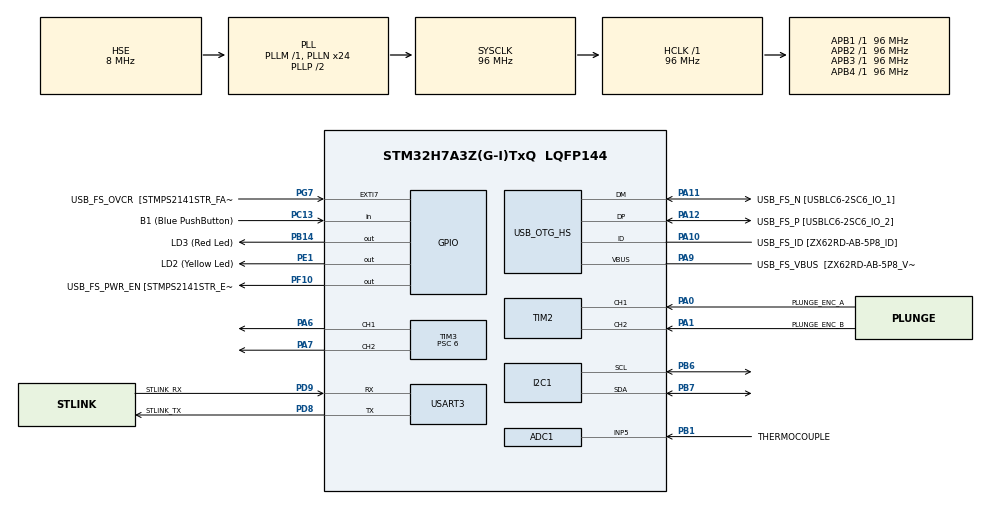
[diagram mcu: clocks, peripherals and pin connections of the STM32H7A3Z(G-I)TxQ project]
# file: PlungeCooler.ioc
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ADC1.Channel-2\#ChannelRegularConversion=ADC_CHANNEL_5
ADC1.ClockPrescaler=ADC_CLOCK_ASYNC_DIV1
ADC1.NbrOfConversionFlag=1
ADC1.OffsetNumber-2\#ChannelRegularConversion=ADC_OFFSET_NONE
ADC1.OffsetSignedSaturation-2\#ChannelRegularConversion=DISABLE
ADC1.Rank-2\#ChannelRegularConversion=1
ADC1.Resolution=ADC_RESOLUTION_16B
ADC1.SamplingTime-2\#ChannelRegularConversion=ADC_SAMPLETIME_1CYCLE_5
ADC1.master=1
I2C1.Timing=0x10B0DCFB
Mcu.Family=STM32H7
Mcu.Name=STM32H7A3Z(G-I)TxQ
Mcu.Package=LQFP144
NVIC.PriorityGroup=NVIC_PRIORITYGROUP_4
NVIC.TIM2_IRQn=true\:0\:0\:false\:false\:true\:true\:true\:true
NVIC.TIM5_IRQn=true\:0\:0\:false\:false\:true\:true\:true\:true
NVIC.USART3_IRQn=true\:0\:0\:false\:false\:true\:true\:true\:true
PA0.GPIO_Label=PLUNGE_ENC_A
PA0.Signal=S_TIM2_CH1_ETR
PA1.GPIO_Label=PLUNGE_ENC_B
PA1.Signal=S_TIM2_CH2
PA10.GPIO_Label=USB_FS_ID [ZX62RD-AB-5P8_ID]
PA10.Mode=OTG/Dual-Role-Device-FS
PA10.Signal=USB_OTG_HS_ID
PA11.GPIO_Label=USB_FS_N [USBLC6-2SC6_IO_1]
PA11.Mode=OTG/Dual-Role-Device-FS
PA11.Signal=USB_OTG_HS_DM
PA12.GPIO_Label=USB_FS_P [USBLC6-2SC6_IO_2]
PA12.Mode=OTG/Dual-Role-Device-FS
PA12.Signal=USB_OTG_HS_DP
PA6.Signal=S_TIM3_CH1
PA7.Signal=S_TIM3_CH2
PA9.GPIO_Label=USB_FS_VBUS  [ZX62RD-AB-5P8_VBUS]
PA9.Mode=Activate_VBUS_FS
PA9.Signal=USB_OTG_HS_VBUS
PB1.GPIO_Label=THERMOCOUPLE
PB1.Signal=ADCx_INP5
PB14.GPIO_Label=LD3 (Red Led)
PB14.Signal=GPIO_Output
PB6.Mode=I2C
PB6.Signal=I2C1_SCL
PB7.Mode=I2C
PB7.Signal=I2C1_SDA
PC13.GPIO_Label=B1 (Blue PushButton)
PC13.Signal=GPIO_Input
PC14-OSC32_IN.GPIO_Label=OSC32_IN
PC14-OSC32_IN.Mode=LSE-External-Oscillator
PC14-OSC32_IN.Signal=RCC_OSC32_IN
PC15-OSC32_OUT.GPIO_Label=OSC32_OUT
PC15-OSC32_OUT.Mode=LSE-External-Oscillator
PC15-OSC32_OUT.Signal=RCC_OSC32_OUT
PD8.GPIO_Label=STLINK_TX
PD8.Mode=Asynchronous
PD8.Signal=USART3_TX
PD9.GPIO_Label=STLINK_RX
PD9.Mode=Asynchronous
PD9.Signal=USART3_RX
PE1.GPIO_Label=LD2 (Yellow Led)
PE1.Signal=GPIO_Output
PF10.GPIO_Label=USB_FS_PWR_EN [STMPS2141STR_EN]
PF10.Signal=GPIO_Output
PG7.GPIO_Label=USB_FS_OVCR  [STMPS2141STR_FAULT]
PG7.Signal=GPXTI7
PH0-OSC_IN.GPIO_Label=PH0-MCU
PH0-OSC_IN.Mode=HSE-External-Clock-Source
PH0-OSC_IN.Signal=RCC_OSC_IN
PH1-OSC_OUT.GPIO_Label=PH1-MCU
PH1-OSC_OUT.Signal=RCC_OSC_OUT
ProjectManager.HeapSize=0x200
ProjectManager.StackSize=0x400
ProjectManager.TargetToolchain=STM32CubeIDE
RCC.ADCFreq_Value=42666666.666666664
RCC.APB1Freq_Value=96000000
RCC.APB2Freq_Value=96000000
RCC.APB3Freq_Value=96000000
RCC.APB4Freq_Value=96000000
RCC.CortexFreq_Value=96000000
RCC.DIVM1=1
RCC.DIVM2=1
RCC.DIVM3=1
RCC.DIVN1=24
RCC.DIVN2=16
RCC.DIVN3=24
RCC.DIVP2=3
RCC.DIVQ1=4
RCC.HCLKFreq_Value=96000000
RCC.HSE_VALUE=8000000
RCC.PLL2FRACN=0
RCC.PLLFRACN=0
RCC.PLLSourceVirtual=RCC_PLLSOURCE_HSE
RCC.PWR_Regulator_Voltage_Scale=PWR_REGULATOR_VOLTAGE_SCALE0
RCC.SYSCLKFreq_VALUE=96000000
RCC.SYSCLKSource=RCC_SYSCLKSOURCE_PLLCLK
RCC.SupplySource=PWR_DIRECT_SMPS_SUPPLY
RCC.USBCLockSelection=RCC_USBCLKSOURCE_HSI48
RCC.USBFreq_Value=48000000
SH.ADCx_INP5.0=ADC1_INP5,IN5-Single-Ended
SH.S_TIM2_CH1_ETR.0=TIM2_CH1,Encoder_Interface
SH.S_TIM2_CH2.0=TIM2_CH2,Encoder_Interface
SH.S_TIM3_CH1.0=TIM3_CH1,PWM Generation1 CH1
SH.S_TIM3_CH2.0=TIM3_CH2,PWM Generation2 CH2
TIM3.Channel-PWM\ Generation1\ CH1=TIM_CHANNEL_1
TIM3.Channel-PWM\ Generation2\ CH2=TIM_CHANNEL_2
TIM3.OCFastMode_PWM-PWM\ Generation1\ CH1=TIM_OCFAST_DISABLE
TIM3.OCFastMode_PWM-PWM\ Generation2\ CH2=TIM_OCFAST_DISABLE
TIM3.Period=255
TIM3.Prescaler=6
TIM5.AutoReloadPreload=TIM_AUTORELOAD_PRELOAD_DISABLE
USART3.VirtualMode-Asynchronous=VM_ASYNC
VP_TIM3_VS_ClockSourceINT.Mode=Internal
VP_TIM5_VS_ClockSourceINT.Mode=Internal
board=NUCLEO-H7A3ZI-Q

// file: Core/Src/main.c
/* USER CODE BEGIN Header */
/**
  ******************************************************************************
  * @file           : main.c
  * @brief          : Main program body
  ******************************************************************************
  * @attention
  *
  * Copyright (c) 2023 STMicroelectronics.
  * All rights reserved.
  *
  * This software is licensed under terms that can be found in the LICENSE file
  * in the root directory of this software component.
  * If no LICENSE file comes with this software, it is provided AS-IS.
  *
  ******************************************************************************
  */
/* USER CODE END Header */
#include "main.h"

/* USER CODE BEGIN Includes */
#include <string.h>
#include <stdio.h>
#include "stm32h7xx_it.h"
#include "environment_control.h"
#include "globals.h"
#include "math.h"
#include "pid.h"
/* USER CODE END Includes */

ADC_HandleTypeDef hadc1;

I2C_HandleTypeDef hi2c1;

TIM_HandleTypeDef htim2;
TIM_HandleTypeDef htim3;
TIM_HandleTypeDef htim5;

UART_HandleTypeDef huart3;

void SystemClock_Config(void);
static void MX_GPIO_Init(void);
static void MX_TIM2_Init(void);
static void MX_USB_OTG_HS_USB_Init(void);
static void MX_USART3_UART_Init(void);
static void MX_TIM5_Init(void);
static void MX_ADC1_Init(void);
static void MX_I2C1_Init(void);
static void MX_TIM3_Init(void);
/* USER CODE BEGIN PFP */
void rx_handle(void);
/* USER CODE END PFP */

/* USER CODE BEGIN 0 */

/*** GLOBAL VARS ***/
uint16_t posLog[LOG_SIZE] = {0};
uint16_t thermoLog[LOG_SIZE] = {0};
uint32_t log_position = 0;

uint8_t val = 1;

uint8_t rxBuffer[100];

uint8_t uartRxBuffer[100];
uint16_t rxIndex = 0;
uint8_t received_character[1] = {0};

uint8_t tx_ack[3] = {ACK, '\r', '\n'};
uint8_t tx_bad[3] = {BAD, '\r', '\n'};
uint8_t plunge_done_flag = 0;
uint16_t nudge_temp = 0;

uint8_t RhSetpoint = DEFAULTRH;

float SensorValues[2];

int nitrogenPWM = 0;
int humidAirPWM = 0;

/*** USART Rx HANDLE ***/
void ack(void) {
    HAL_UART_Transmit(&huart3, tx_ack, 3, HAL_MAX_DELAY);
}

void bad(void) {
	HAL_UART_Transmit(&huart3, tx_bad, 3, HAL_MAX_DELAY);
}

void HAL_UART_RxCpltCallback(UART_HandleTypeDef *huart) {
    rxBuffer[rxIndex] = received_character[0];
	rxIndex++;

	if (received_character[0] == '\n' || received_character[0] == '\r') { //ie end of message, stop receiving.
    	rxIndex = 0;
    	rx_handle();
    } else {
        HAL_UART_Receive_IT(&huart3, received_character, 1);
    }
}

void rx_handle(void) {
	HAL_GPIO_WritePin(GPIOE, LD2_Pin, val);
	if(val)
		val = 0;
	else
		val = 1;
	//sprintf(num, "RX0: %d\r\n", rxBuffer[0]);
	//HAL_UART_Transmit(&huart3, (uint8_t*)num, strlen(num), HAL_MAX_DELAY);
	switch(rxBuffer[0]) {
		case PLUNGE: ;

			/* reset tracking variables */
			log_position = 0;
			memset(posLog, 0, sizeof(posLog));
      memset(thermoLog, 0, sizeof(thermoLog));

			TIM2->CR1  |=  TIM_CR1_CEN; 	//start counter for encoder

			TIM5->CR1  |= TIM_CR1_CEN; // Start TIM5 to commence data collection

      HAL_UART_Transmit(&huart3, tx_ack, sizeof(tx_ack), HAL_MAX_DELAY);

			break;

    case FETCH: ;
      HAL_ADC_Start(&hadc1);
      HAL_ADC_PollForConversion(&hadc1, HAL_MAX_DELAY);
      nudge_temp = HAL_ADC_GetValue(&hadc1);
      char msg[10];
      sprintf(msg, "%u\n", nudge_temp);
      sprintf(msg, "%u\n", nudge_temp);
			HAL_UART_Transmit(&huart3, (uint8_t*)msg, strlen(msg), HAL_MAX_DELAY);
      HAL_UART_Transmit(&huart3, tx_ack, sizeof(tx_ack), HAL_MAX_DELAY);

      break;

    case UPDATERH: ;
      if(rxBuffer[2] == '\r'){
    	  RhSetpoint = (rxBuffer[1]-'0');
      } else if (rxBuffer[3] == '\r'){
    	  RhSetpoint = (rxBuffer[1] - '0') * 10 + (rxBuffer[2] - '0');
      } else {
    	  RhSetpoint = 100;
      }
      break;

    case GETTRH: ;
      //consider not having first ack
      char Tmsg[10];
      sprintf(Tmsg, "%.2f\n", SensorValues[0]);
			HAL_UART_Transmit(&huart3, (uint8_t*)Tmsg, strlen(Tmsg), HAL_MAX_DELAY);
      HAL_UART_Transmit(&huart3, tx_ack, sizeof(tx_ack), HAL_MAX_DELAY);
      char RHmsg[10];
      sprintf(RHmsg, "%.2f\n", SensorValues[1]);
			HAL_UART_Transmit(&huart3, (uint8_t*)RHmsg, strlen(RHmsg), HAL_MAX_DELAY);
      HAL_UART_Transmit(&huart3, tx_ack, sizeof(tx_ack), HAL_MAX_DELAY);

      break;

    case END: ;
	  TIM5->CR1  |= TIM_CR1_UDIS;	// make sure update is disabled
	  TIM5->DIER &=  ~TIM_DIER_UIE; 	// update interrupt disabled
	  TIM2->CR1 &= ~TIM_CR1_CEN;		// disable tim2
	  TIM5->CR1  &= ~TIM_CR1_CEN; 	// disable tim5
	  HAL_UART_Transmit(&huart3, tx_ack, sizeof(tx_ack), HAL_MAX_DELAY);
	  break;

    case SEND: ;
    	plunge_done_flag = 1;

    }

//	char b[] = "done handling\r\n";
//	HAL_UART_Transmit(&huart3, (uint8_t*)b, strlen(b), HAL_MAX_DELAY);

    HAL_UART_Receive_IT(&huart3, received_character, 1);
}

/* USER CODE END 0 */

int main(void)
{

  /* MCU Configuration--------------------------------------------------------*/

  /* Reset of all peripherals, Initializes the Flash interface and the Systick. */
  HAL_Init();

  /* Configure the system clock */
  SystemClock_Config();

  /* Initialize all configured peripherals */
  MX_GPIO_Init();
  MX_TIM2_Init();
  MX_USB_OTG_HS_USB_Init();
  MX_USART3_UART_Init();
  MX_TIM5_Init();
  MX_ADC1_Init();
  MX_I2C1_Init();
  MX_TIM3_Init();
  /* USER CODE BEGIN 2 */

  /* configuring encoder counter */
  TIM2->CR1  &= ~TIM_CR1_CEN;

  TIM2->CNT   =  100;				// 100 included here and in ARR to make sure it doesnt immediately underflow if it vibrates up
  TIM2->ARR 	= 40000; 		// Counter will not roll over in entire plunge path, will be stopped and reset by usart interupt handler.
  TIM2->SR   &= ~TIM_SR_UIF; 		// Clear the interrupt flag
  TIM2->CR1  &= ~TIM_CR1_UDIS;	// make sure update is enabled
  TIM2->DIER |=  TIM_DIER_UIE; 	// update interrupt enabled
  TIM2->CR1  |= TIM_CR1_ARPE;		// enable auto reload preload

    /* configuring data logging timer */
  TIM5->CR1  &= ~TIM_CR1_CEN;

  TIM5-> CNT  = 100;				//
  TIM5->ARR 	= CLOCKS_PER_LOG; 	// check positione interval
  TIM5->CR1  &= ~TIM_CR1_UDIS;	// make sure update is enabled
  TIM5->DIER |=  TIM_DIER_UIE; 	// update interrupt enabled
  TIM5->CR1  |= TIM_CR1_ARPE;		// enable auto reload preload
  TIM5->SR   &= ~TIM_SR_UIF; 		// Clear the interrupt flag

  HAL_UART_Receive_IT(&huart3, received_character, 1); // initialize interrupts

//  char msg[] = "program start \r\n";
//  HAL_UART_Transmit(&huart3, (uint8_t*)msg, strlen(msg), HAL_MAX_DELAY);

  // TIM2 for encoder tick counting
  NVIC_SetPriority(TIM2_IRQn, 1); // Braking is priority as long as dispense isnt happening
  NVIC_EnableIRQ(TIM2_IRQn);

  // TIM5 for logkeeping and speed calculations and TIM4 setup
  NVIC_SetPriority(TIM5_IRQn, 2); // Log keeping should be interruptable
  NVIC_EnableIRQ(TIM5_IRQn);

  PID_TypeDef TPID;
  double Input, Output, Setpoint = DEFAULTRH;
  double Kp = KP, Ki = KI, Kd = KD;
  PID(&TPID, &Input, &Output, &Setpoint, Kp, Ki, Kd, _PID_P_ON_E, _PID_CD_DIRECT);
  PID_SetMode(&TPID, _PID_MODE_AUTOMATIC);
  PID_SetOutputLimits(&TPID, 1, 100);
  /* USER CODE END 2 */

  /* Infinite loop */
  /* USER CODE BEGIN WHILE */
  while(1) {
    getCurrentTRH(SensorValues);
    Input = SensorValues[1];
    Setpoint = RhSetpoint;
    PID_Compute(&TPID);
    nitrogenPWM = map(Output, 0, 100, 255, 110);
    humidAirPWM = map(Output, 0, 100, 95, 255);
    __HAL_TIM_SET_COMPARE(&htim3, TIM_CHANNEL_1, nitrogenPWM);
    __HAL_TIM_SET_COMPARE(&htim3, TIM_CHANNEL_2, humidAirPWM);
	  if(plunge_done_flag) {
		  char msg[10];
		  for(int i=0 ; i<log_position; i++) {
			  sprintf(msg, "%u\n", posLog[i]);
			  HAL_UART_Transmit(&huart3, (uint8_t*)msg, strlen(msg), HAL_MAX_DELAY);
		  }
		  HAL_UART_Transmit(&huart3, tx_ack, sizeof(tx_ack), HAL_MAX_DELAY);

      for(int i=0 ; i<log_position; i++) {
			  sprintf(msg, "%u\n", thermoLog[i]);
			  HAL_UART_Transmit(&huart3, (uint8_t*)msg, strlen(msg), HAL_MAX_DELAY);
		  }

      //Prepare timers for the next plunge, do not enable yet
      TIM2->CR1  &= ~TIM_CR1_CEN;

      TIM2->CNT   =  100;				// 100 included here and in ARR to make sure it doesnt immediately underflow if it vibrates up
      TIM2->ARR 	= 40000; 		// Counter will not roll over in entire plunge path, will be stopped and reset by usart interupt handler.
      TIM2->SR   &= ~TIM_SR_UIF; 		// Clear the interrupt flag
      TIM2->CR1  &= ~TIM_CR1_UDIS;	// make sure update is enabled
      TIM2->DIER |=  TIM_DIER_UIE; 	// update interrupt enabled
      TIM2->CR1  |= TIM_CR1_ARPE;		// enable auto reload preload

        /* configuring data logging timer */
      TIM5->CR1  &= ~TIM_CR1_CEN;

      TIM5-> CNT  = 100;
      TIM5->ARR 	= CLOCKS_PER_LOG; 	// check positione interval
      TIM5->CR1  &= ~TIM_CR1_UDIS;	// make sure update is enabled
      TIM5->DIER |=  TIM_DIER_UIE; 	// update interrupt enabled
      TIM5->CR1  |= TIM_CR1_ARPE;		// enable auto reload preload
      TIM5->SR   &= ~TIM_SR_UIF; 		// Clear the interrupt flag

      HAL_UART_Transmit(&huart3, tx_ack, sizeof(tx_ack), HAL_MAX_DELAY);
		  plunge_done_flag = 0;
	  }

    /* USER CODE END WHILE */

  }
}

void SystemClock_Config(void)
{
  RCC_OscInitTypeDef RCC_OscInitStruct = {0};
  RCC_ClkInitTypeDef RCC_ClkInitStruct = {0};

  /*AXI clock gating */
  RCC->CKGAENR = 0xFFFFFFFF;

  /** Supply configuration update enable
  */
  HAL_PWREx_ConfigSupply(PWR_DIRECT_SMPS_SUPPLY);

  /** Configure the main internal regulator output voltage
  */
  __HAL_PWR_VOLTAGESCALING_CONFIG(PWR_REGULATOR_VOLTAGE_SCALE0);

  while(!__HAL_PWR_GET_FLAG(PWR_FLAG_VOSRDY)) {}

  /** Initializes the RCC Oscillators according to the specified parameters
  * in the RCC_OscInitTypeDef structure.
  */
  RCC_OscInitStruct.OscillatorType = RCC_OSCILLATORTYPE_HSI48|RCC_OSCILLATORTYPE_HSE;
  RCC_OscInitStruct.HSEState = RCC_HSE_BYPASS;
  RCC_OscInitStruct.HSI48State = RCC_HSI48_ON;
  RCC_OscInitStruct.PLL.PLLState = RCC_PLL_ON;
  RCC_OscInitStruct.PLL.PLLSource = RCC_PLLSOURCE_HSE;
  RCC_OscInitStruct.PLL.PLLM = 1;
  RCC_OscInitStruct.PLL.PLLN = 24;
  RCC_OscInitStruct.PLL.PLLP = 2;
  RCC_OscInitStruct.PLL.PLLQ = 4;
  RCC_OscInitStruct.PLL.PLLR = 2;
  RCC_OscInitStruct.PLL.PLLRGE = RCC_PLL1VCIRANGE_3;
  RCC_OscInitStruct.PLL.PLLVCOSEL = RCC_PLL1VCOWIDE;
  RCC_OscInitStruct.PLL.PLLFRACN = 0;
  if (HAL_RCC_OscConfig(&RCC_OscInitStruct) != HAL_OK)
  {
    Error_Handler();
  }

  /** Initializes the CPU, AHB and APB buses clocks
  */
  RCC_ClkInitStruct.ClockType = RCC_CLOCKTYPE_HCLK|RCC_CLOCKTYPE_SYSCLK
                              |RCC_CLOCKTYPE_PCLK1|RCC_CLOCKTYPE_PCLK2
                              |RCC_CLOCKTYPE_D3PCLK1|RCC_CLOCKTYPE_D1PCLK1;
  RCC_ClkInitStruct.SYSCLKSource = RCC_SYSCLKSOURCE_PLLCLK;
  RCC_ClkInitStruct.SYSCLKDivider = RCC_SYSCLK_DIV1;
  RCC_ClkInitStruct.AHBCLKDivider = RCC_HCLK_DIV1;
  RCC_ClkInitStruct.APB3CLKDivider = RCC_APB3_DIV1;
  RCC_ClkInitStruct.APB1CLKDivider = RCC_APB1_DIV1;
  RCC_ClkInitStruct.APB2CLKDivider = RCC_APB2_DIV1;
  RCC_ClkInitStruct.APB4CLKDivider = RCC_APB4_DIV1;

  if (HAL_RCC_ClockConfig(&RCC_ClkInitStruct, FLASH_LATENCY_2) != HAL_OK)
  {
    Error_Handler();
  }
}

static void MX_ADC1_Init(void)
{

  ADC_MultiModeTypeDef multimode = {0};
  ADC_ChannelConfTypeDef sConfig = {0};

  /** Common config
  */
  hadc1.Instance = ADC1;
  hadc1.Init.ClockPrescaler = ADC_CLOCK_ASYNC_DIV1;
  hadc1.Init.Resolution = ADC_RESOLUTION_16B;
  hadc1.Init.ScanConvMode = ADC_SCAN_DISABLE;
  hadc1.Init.EOCSelection = ADC_EOC_SINGLE_CONV;
  hadc1.Init.LowPowerAutoWait = DISABLE;
  hadc1.Init.ContinuousConvMode = DISABLE;
  hadc1.Init.NbrOfConversion = 1;
  hadc1.Init.DiscontinuousConvMode = DISABLE;
  hadc1.Init.ExternalTrigConv = ADC_SOFTWARE_START;
  hadc1.Init.ExternalTrigConvEdge = ADC_EXTERNALTRIGCONVEDGE_NONE;
  hadc1.Init.ConversionDataManagement = ADC_CONVERSIONDATA_DR;
  hadc1.Init.Overrun = ADC_OVR_DATA_PRESERVED;
  hadc1.Init.LeftBitShift = ADC_LEFTBITSHIFT_NONE;
  hadc1.Init.OversamplingMode = DISABLE;
  if (HAL_ADC_Init(&hadc1) != HAL_OK)
  {
    Error_Handler();
  }

  /** Configure the ADC multi-mode
  */
  multimode.Mode = ADC_MODE_INDEPENDENT;
  if (HAL_ADCEx_MultiModeConfigChannel(&hadc1, &multimode) != HAL_OK)
  {
    Error_Handler();
  }

  /** Configure Regular Channel
  */
  sConfig.Channel = ADC_CHANNEL_5;
  sConfig.Rank = ADC_REGULAR_RANK_1;
  sConfig.SamplingTime = ADC_SAMPLETIME_1CYCLE_5;
  sConfig.SingleDiff = ADC_SINGLE_ENDED;
  sConfig.OffsetNumber = ADC_OFFSET_NONE;
  sConfig.Offset = 0;
  sConfig.OffsetSignedSaturation = DISABLE;
  if (HAL_ADC_ConfigChannel(&hadc1, &sConfig) != HAL_OK)
  {
    Error_Handler();
  }
  /* USER CODE BEGIN ADC1_Init 2 */
 // HAL_ADCEx_Calibration_Start(&hadc1,
		  //ADC_CALIB_OFFSET_LINEARITY, ADC_SINGLE_ENDED);
  /* USER CODE END ADC1_Init 2 */

}

static void MX_I2C1_Init(void)
{

  hi2c1.Instance = I2C1;
  hi2c1.Init.Timing = 0x10B0DCFB;
  hi2c1.Init.OwnAddress1 = 0;
  hi2c1.Init.AddressingMode = I2C_ADDRESSINGMODE_7BIT;
  hi2c1.Init.DualAddressMode = I2C_DUALADDRESS_DISABLE;
  hi2c1.Init.OwnAddress2 = 0;
  hi2c1.Init.OwnAddress2Masks = I2C_OA2_NOMASK;
  hi2c1.Init.GeneralCallMode = I2C_GENERALCALL_DISABLE;
  hi2c1.Init.NoStretchMode = I2C_NOSTRETCH_DISABLE;
  if (HAL_I2C_Init(&hi2c1) != HAL_OK)
  {
    Error_Handler();
  }

  /** Configure Analogue filter
  */
  if (HAL_I2CEx_ConfigAnalogFilter(&hi2c1, I2C_ANALOGFILTER_ENABLE) != HAL_OK)
  {
    Error_Handler();
  }

  /** Configure Digital filter
  */
  if (HAL_I2CEx_ConfigDigitalFilter(&hi2c1, 0) != HAL_OK)
  {
    Error_Handler();
  }

}

static void MX_TIM2_Init(void)
{

  TIM_Encoder_InitTypeDef sConfig = {0};
  TIM_MasterConfigTypeDef sMasterConfig = {0};

  htim2.Instance = TIM2;
  htim2.Init.Prescaler = 0;
  htim2.Init.CounterMode = TIM_COUNTERMODE_UP;
  htim2.Init.Period = 4294967295;
  htim2.Init.ClockDivision = TIM_CLOCKDIVISION_DIV1;
  htim2.Init.AutoReloadPreload = TIM_AUTORELOAD_PRELOAD_DISABLE;
  sConfig.EncoderMode = TIM_ENCODERMODE_TI1;
  sConfig.IC1Polarity = TIM_ICPOLARITY_RISING;
  sConfig.IC1Selection = TIM_ICSELECTION_DIRECTTI;
  sConfig.IC1Prescaler = TIM_ICPSC_DIV1;
  sConfig.IC1Filter = 0;
  sConfig.IC2Polarity = TIM_ICPOLARITY_RISING;
  sConfig.IC2Selection = TIM_ICSELECTION_DIRECTTI;
  sConfig.IC2Prescaler = TIM_ICPSC_DIV1;
  sConfig.IC2Filter = 0;
  if (HAL_TIM_Encoder_Init(&htim2, &sConfig) != HAL_OK)
  {
    Error_Handler();
  }
  sMasterConfig.MasterOutputTrigger = TIM_TRGO_RESET;
  sMasterConfig.MasterSlaveMode = TIM_MASTERSLAVEMODE_DISABLE;
  if (HAL_TIMEx_MasterConfigSynchronization(&htim2, &sMasterConfig) != HAL_OK)
  {
    Error_Handler();
  }
  /* USER CODE BEGIN TIM2_Init 2 */
	TIM2->CR1  |= TIM_CR1_UDIS;	// make sure update is enabled
	TIM2->DIER &=  ~TIM_DIER_UIE; 	// update interrupt enabled
	TIM2->CR1 &= ~TIM_CR1_CEN;
  /* USER CODE END TIM2_Init 2 */

}

static void MX_TIM3_Init(void)
{

  TIM_ClockConfigTypeDef sClockSourceConfig = {0};
  TIM_MasterConfigTypeDef sMasterConfig = {0};
  TIM_OC_InitTypeDef sConfigOC = {0};

  htim3.Instance = TIM3;
  htim3.Init.Prescaler = 6;
  htim3.Init.CounterMode = TIM_COUNTERMODE_UP;
  htim3.Init.Period = 255;
  htim3.Init.ClockDivision = TIM_CLOCKDIVISION_DIV1;
  htim3.Init.AutoReloadPreload = TIM_AUTORELOAD_PRELOAD_DISABLE;
  if (HAL_TIM_Base_Init(&htim3) != HAL_OK)
  {
    Error_Handler();
  }
  sClockSourceConfig.ClockSource = TIM_CLOCKSOURCE_INTERNAL;
  if (HAL_TIM_ConfigClockSource(&htim3, &sClockSourceConfig) != HAL_OK)
  {
    Error_Handler();
  }
  if (HAL_TIM_PWM_Init(&htim3) != HAL_OK)
  {
    Error_Handler();
  }
  sMasterConfig.MasterOutputTrigger = TIM_TRGO_RESET;
  sMasterConfig.MasterSlaveMode = TIM_MASTERSLAVEMODE_DISABLE;
  if (HAL_TIMEx_MasterConfigSynchronization(&htim3, &sMasterConfig) != HAL_OK)
  {
    Error_Handler();
  }
  sConfigOC.OCMode = TIM_OCMODE_PWM1;
  sConfigOC.Pulse = 0;
  sConfigOC.OCPolarity = TIM_OCPOLARITY_HIGH;
  sConfigOC.OCFastMode = TIM_OCFAST_DISABLE;
  if (HAL_TIM_PWM_ConfigChannel(&htim3, &sConfigOC, TIM_CHANNEL_1) != HAL_OK)
  {
    Error_Handler();
  }
  if (HAL_TIM_PWM_ConfigChannel(&htim3, &sConfigOC, TIM_CHANNEL_2) != HAL_OK)
  {
    Error_Handler();
  }
  /* USER CODE BEGIN TIM3_Init 2 */
  HAL_TIM_Base_Start(&htim3);
  HAL_TIM_PWM_Start(&htim3, TIM_CHANNEL_1);
  HAL_TIM_PWM_Start(&htim3, TIM_CHANNEL_2);
  /* USER CODE END TIM3_Init 2 */
  HAL_TIM_MspPostInit(&htim3);
}

static void MX_TIM5_Init(void)
{

  TIM_ClockConfigTypeDef sClockSourceConfig = {0};
  TIM_MasterConfigTypeDef sMasterConfig = {0};

  htim5.Instance = TIM5;
  htim5.Init.Prescaler = 0;
  htim5.Init.CounterMode = TIM_COUNTERMODE_UP;
  htim5.Init.Period = 4294967295;
  htim5.Init.ClockDivision = TIM_CLOCKDIVISION_DIV1;
  htim5.Init.AutoReloadPreload = TIM_AUTORELOAD_PRELOAD_DISABLE;
  if (HAL_TIM_Base_Init(&htim5) != HAL_OK)
  {
    Error_Handler();
  }
  sClockSourceConfig.ClockSource = TIM_CLOCKSOURCE_INTERNAL;
  if (HAL_TIM_ConfigClockSource(&htim5, &sClockSourceConfig) != HAL_OK)
  {
    Error_Handler();
  }
  sMasterConfig.MasterOutputTrigger = TIM_TRGO_RESET;
  sMasterConfig.MasterSlaveMode = TIM_MASTERSLAVEMODE_DISABLE;
  if (HAL_TIMEx_MasterConfigSynchronization(&htim5, &sMasterConfig) != HAL_OK)
  {
    Error_Handler();
  }
  /* USER CODE BEGIN TIM5_Init 2 */

//  RCC->APB1ENR1 |= RCC_APB1ENR1_TIM5EN; // Enable TIM5 clock
//  TIM5->DIER |= TIM_DIER_UIE; // Enable update interrupt
//  TIM5->ARR = ENC_DMA_POLL_FREQ; // Timebase

  /* USER CODE END TIM5_Init 2 */

}

static void MX_USART3_UART_Init(void)
{

  huart3.Instance = USART3;
  huart3.Init.BaudRate = 115200;
  huart3.Init.WordLength = UART_WORDLENGTH_8B;
  huart3.Init.StopBits = UART_STOPBITS_1;
  huart3.Init.Parity = UART_PARITY_NONE;
  huart3.Init.Mode = UART_MODE_TX_RX;
  huart3.Init.HwFlowCtl = UART_HWCONTROL_NONE;
  huart3.Init.OverSampling = UART_OVERSAMPLING_16;
  huart3.Init.OneBitSampling = UART_ONE_BIT_SAMPLE_DISABLE;
  huart3.Init.ClockPrescaler = UART_PRESCALER_DIV1;
  huart3.AdvancedInit.AdvFeatureInit = UART_ADVFEATURE_NO_INIT;
  if (HAL_UART_Init(&huart3) != HAL_OK)
  {
    Error_Handler();
  }
  if (HAL_UARTEx_SetTxFifoThreshold(&huart3, UART_TXFIFO_THRESHOLD_1_8) != HAL_OK)
  {
    Error_Handler();
  }
  if (HAL_UARTEx_SetRxFifoThreshold(&huart3, UART_RXFIFO_THRESHOLD_1_8) != HAL_OK)
  {
    Error_Handler();
  }
  if (HAL_UARTEx_DisableFifoMode(&huart3) != HAL_OK)
  {
    Error_Handler();
  }

}

static void MX_USB_OTG_HS_USB_Init(void)
{

}

static void MX_GPIO_Init(void)
{
  GPIO_InitTypeDef GPIO_InitStruct = {0};

  /* GPIO Ports Clock Enable */
  __HAL_RCC_GPIOC_CLK_ENABLE();
  __HAL_RCC_GPIOF_CLK_ENABLE();
  __HAL_RCC_GPIOH_CLK_ENABLE();
  __HAL_RCC_GPIOA_CLK_ENABLE();
  __HAL_RCC_GPIOB_CLK_ENABLE();
  __HAL_RCC_GPIOD_CLK_ENABLE();
  __HAL_RCC_GPIOG_CLK_ENABLE();
  __HAL_RCC_GPIOE_CLK_ENABLE();

  /*Configure GPIO pin Output Level */
  HAL_GPIO_WritePin(USB_FS_PWR_EN_GPIO_Port, USB_FS_PWR_EN_Pin, GPIO_PIN_RESET);

  /*Configure GPIO pin Output Level */
  HAL_GPIO_WritePin(LD3_GPIO_Port, LD3_Pin, GPIO_PIN_RESET);

  /*Configure GPIO pin Output Level */
  HAL_GPIO_WritePin(LD2_GPIO_Port, LD2_Pin, GPIO_PIN_RESET);

  /*Configure GPIO pin : B1_Pin */
  GPIO_InitStruct.Pin = B1_Pin;
  GPIO_InitStruct.Mode = GPIO_MODE_INPUT;
  GPIO_InitStruct.Pull = GPIO_NOPULL;
  HAL_GPIO_Init(B1_GPIO_Port, &GPIO_InitStruct);

  /*Configure GPIO pin : USB_FS_PWR_EN_Pin */
  GPIO_InitStruct.Pin = USB_FS_PWR_EN_Pin;
  GPIO_InitStruct.Mode = GPIO_MODE_OUTPUT_PP;
  GPIO_InitStruct.Pull = GPIO_NOPULL;
  GPIO_InitStruct.Speed = GPIO_SPEED_FREQ_LOW;
  HAL_GPIO_Init(USB_FS_PWR_EN_GPIO_Port, &GPIO_InitStruct);

  /*Configure GPIO pin : LD3_Pin */
  GPIO_InitStruct.Pin = LD3_Pin;
  GPIO_InitStruct.Mode = GPIO_MODE_OUTPUT_PP;
  GPIO_InitStruct.Pull = GPIO_NOPULL;
  GPIO_InitStruct.Speed = GPIO_SPEED_FREQ_LOW;
  HAL_GPIO_Init(LD3_GPIO_Port, &GPIO_InitStruct);

  /*Configure GPIO pin : USB_FS_OVCR_Pin */
  GPIO_InitStruct.Pin = USB_FS_OVCR_Pin;
  GPIO_InitStruct.Mode = GPIO_MODE_IT_RISING;
  GPIO_InitStruct.Pull = GPIO_NOPULL;
  HAL_GPIO_Init(USB_FS_OVCR_GPIO_Port, &GPIO_InitStruct);

  /*Configure GPIO pin : USB_FS_VBUS_Pin */
  GPIO_InitStruct.Pin = USB_FS_VBUS_Pin;
  GPIO_InitStruct.Mode = GPIO_MODE_INPUT;
  GPIO_InitStruct.Pull = GPIO_NOPULL;
  HAL_GPIO_Init(USB_FS_VBUS_GPIO_Port, &GPIO_InitStruct);

  /*Configure GPIO pin : USB_FS_ID_Pin */
  GPIO_InitStruct.Pin = USB_FS_ID_Pin;
  GPIO_InitStruct.Mode = GPIO_MODE_AF_PP;
  GPIO_InitStruct.Pull = GPIO_NOPULL;
  GPIO_InitStruct.Speed = GPIO_SPEED_FREQ_LOW;
  GPIO_InitStruct.Alternate = GPIO_AF10_OTG1_HS;
  HAL_GPIO_Init(USB_FS_ID_GPIO_Port, &GPIO_InitStruct);

  /*Configure GPIO pins : USB_FS_N_Pin USB_FS_P_Pin */
  GPIO_InitStruct.Pin = USB_FS_N_Pin|USB_FS_P_Pin;
  GPIO_InitStruct.Mode = GPIO_MODE_AF_PP;
  GPIO_InitStruct.Pull = GPIO_NOPULL;
  GPIO_InitStruct.Speed = GPIO_SPEED_FREQ_LOW;
  HAL_GPIO_Init(GPIOA, &GPIO_InitStruct);

  /*Configure GPIO pin : LD2_Pin */
  GPIO_InitStruct.Pin = LD2_Pin;
  GPIO_InitStruct.Mode = GPIO_MODE_OUTPUT_PP;
  GPIO_InitStruct.Pull = GPIO_NOPULL;
  GPIO_InitStruct.Speed = GPIO_SPEED_FREQ_LOW;
  HAL_GPIO_Init(LD2_GPIO_Port, &GPIO_InitStruct);

}

void Error_Handler(void)
{
  __disable_irq();
  while (1)
  {
  }
}
